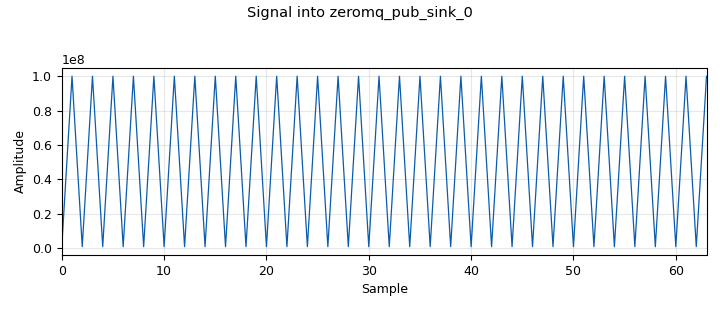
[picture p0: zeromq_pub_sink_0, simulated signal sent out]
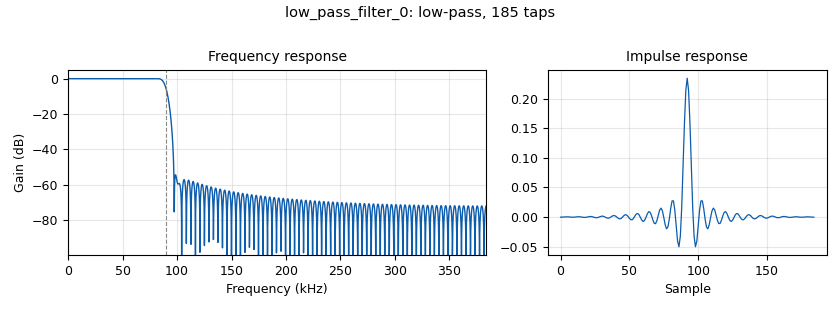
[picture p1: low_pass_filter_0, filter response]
options:
  parameters:
    generate_options: qt_gui
    id: fm_zmq
    output_language: python
  states: {}

blocks:
- name: rx_freq
  id: variable_qtgui_range
  parameters:
    label: Frequency (MHz)
    start: '80'
    step: '0.1'
    stop: '120'
    value: '100.0'
  states: {}
- name: rx_rate
  id: variable
  parameters:
    value: '768000'
  states: {}
- name: analog_wfm_rcv_0
  id: analog_wfm_rcv
  parameters:
    audio_decimation: '1'
    quad_rate: rx_rate
  states: {}
- name: audio_sink_0
  id: audio_sink
  parameters:
    samp_rate: '48000'
  states: {}
- name: epy_block_0
  id: epy_block
  parameters:
    _source_code: |
      from gnuradio import gr
      import numpy as np
      import time


      class control(gr.sync_block):
          def __init__(self, rate=48000, frequency=1000000):
              gr.sync_block.__init__(
                  self, name="Rate and Frequency Control", in_sig=None, out_sig=[np.uint32]
              )
              self.rate = rate
              self.frequency = frequency

          def work(self, input_items, output_items):
              time.sleep(0.1)
              output_items[0][0:2] = [self.rate, self.frequency]
              return 2
    frequency: rx_freq*1000000
    rate: rx_rate
  states: {}
- name: low_pass_filter_0
  id: low_pass_filter
  parameters:
    cutoff_freq: '90000'
    decim: '1'
    gain: '1'
    samp_rate: rx_rate
    type: fir_filter_ccf
    width: '10000'
    win: window.WIN_HAMMING
  states: {}
- name: qtgui_sink_x_0
  id: qtgui_sink_x
  parameters:
    bw: rx_rate
    fc: rx_freq*1000000
    fftsize: '1024'
    name: ''
    showrf: 'True'
    type: complex
    wintype: window.WIN_HAMMING
  states: {}
- name: rational_resampler_xxx_0
  id: rational_resampler_xxx
  parameters:
    decim: rx_rate//48000
    interp: '1'
    taps: ''
    type: fff
  states: {}
- name: zeromq_pub_sink_0
  id: zeromq_pub_sink
  parameters:
    address: tcp://127.0.0.1:10002
    timeout: '100'
    type: int
  states: {}
- name: zeromq_sub_source_0
  id: zeromq_sub_source
  parameters:
    address: tcp://127.0.0.1:10001
    timeout: '100'
    type: complex
  states: {}

connections:
- [analog_wfm_rcv_0, '0', rational_resampler_xxx_0, '0']
- [epy_block_0, '0', zeromq_pub_sink_0, '0']
- [low_pass_filter_0, '0', analog_wfm_rcv_0, '0']
- [rational_resampler_xxx_0, '0', audio_sink_0, '0']
- [zeromq_sub_source_0, '0', low_pass_filter_0, '0']
- [zeromq_sub_source_0, '0', qtgui_sink_x_0, '0']

metadata:
  file_format: 1
  grc_version: 3.10.5.1
